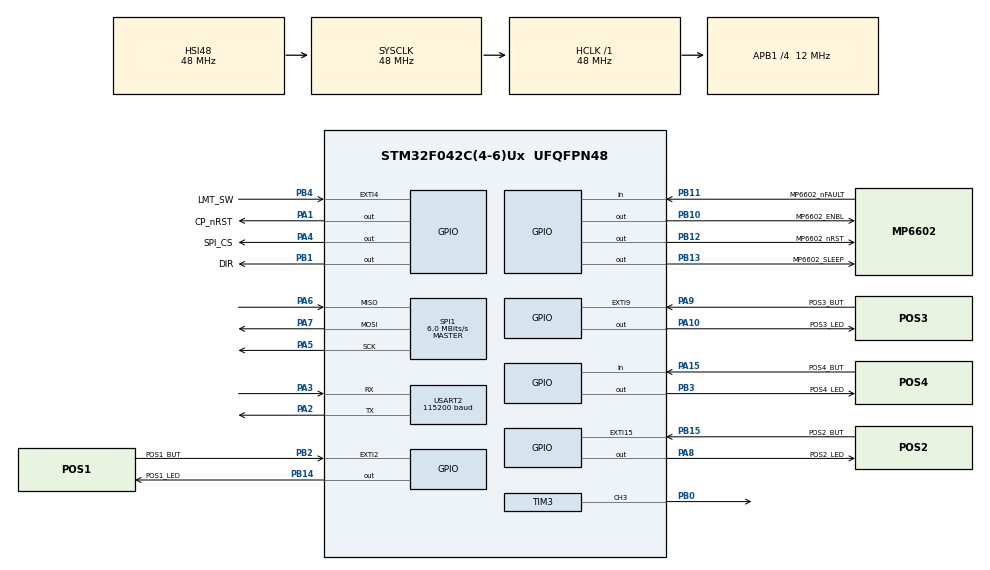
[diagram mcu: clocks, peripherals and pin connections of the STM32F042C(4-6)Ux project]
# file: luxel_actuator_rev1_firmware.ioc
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Mcu.Family=STM32F0
Mcu.Name=STM32F042C(4-6)Ux
Mcu.Package=UFQFPN48
NVIC.EXTI2_3_IRQn=true\:0\:0\:false\:false\:true\:true\:true\:true
NVIC.EXTI4_15_IRQn=true\:0\:0\:false\:false\:true\:true\:true\:true
NVIC.TIM3_IRQn=true\:1\:0\:true\:false\:true\:true\:true\:true
NVIC.USART2_IRQn=true\:0\:0\:false\:false\:true\:true\:true\:true
PA1.GPIO_Label=CP_nRST
PA1.Signal=GPIO_Output
PA10.GPIO_Label=POS3_LED
PA10.Signal=GPIO_Output
PA15.GPIO_Label=POS4_BUT
PA15.Signal=GPIO_Input
PA2.Mode=Asynchronous
PA2.Signal=USART2_TX
PA3.Mode=Asynchronous
PA3.Signal=USART2_RX
PA4.GPIO_Label=SPI_CS
PA4.Signal=GPIO_Output
PA5.Mode=Full_Duplex_Master
PA5.Signal=SPI1_SCK
PA6.Mode=Full_Duplex_Master
PA6.Signal=SPI1_MISO
PA7.Mode=Full_Duplex_Master
PA7.Signal=SPI1_MOSI
PA8.GPIO_Label=POS2_LED
PA8.Signal=GPIO_Output
PA9.GPIO_Label=POS3_BUT
PA9.GPIO_ModeDefaultEXTI=GPIO_MODE_IT_FALLING
PA9.Signal=GPXTI9
PB0.Signal=S_TIM3_CH3
PB1.GPIO_Label=DIR
PB1.Signal=GPIO_Output
PB10.GPIO_Label=MP6602_ENBL
PB10.Signal=GPIO_Output
PB11.GPIO_Label=MP6602_nFAULT
PB11.Signal=GPIO_Input
PB12.GPIO_Label=MP6602_nRST
PB12.Signal=GPIO_Output
PB13.GPIO_Label=MP6602_SLEEP
PB13.Signal=GPIO_Output
PB14.GPIO_Label=POS1_LED
PB14.Signal=GPIO_Output
PB15.GPIO_Label=POS2_BUT
PB15.GPIO_ModeDefaultEXTI=GPIO_MODE_IT_FALLING
PB15.Signal=GPXTI15
PB2.GPIO_Label=POS1_BUT
PB2.GPIO_ModeDefaultEXTI=GPIO_MODE_IT_FALLING
PB2.Signal=GPXTI2
PB3.GPIO_Label=POS4_LED
PB3.Signal=GPIO_Output
PB4.GPIO_Label=LMT_SW
PB4.GPIO_ModeDefaultEXTI=GPIO_MODE_IT_RISING_FALLING
PB4.Signal=GPXTI4
ProjectManager.HeapSize=0x400
ProjectManager.StackSize=0x800
ProjectManager.TargetToolchain=STM32CubeIDE
RCC.AHBFreq_Value=48000000
RCC.APB1CLKDivider=RCC_HCLK_DIV4
RCC.APB1Freq_Value=12000000
RCC.APB1TimFreq_Value=24000000
RCC.FLatency=FLASH_LATENCY_1
RCC.HCLKFreq_Value=48000000
RCC.SYSCLKFreq_VALUE=48000000
RCC.SYSCLKSource=RCC_SYSCLKSOURCE_HSI48
SH.S_TIM3_CH3.0=TIM3_CH3,PWM Generation3 CH3
SPI1.BaudRatePrescaler=SPI_BAUDRATEPRESCALER_2
SPI1.CLKPhase=SPI_PHASE_1EDGE
SPI1.CLKPolarity=SPI_POLARITY_LOW
SPI1.CRCCalculation=SPI_CRCCALCULATION_DISABLE
SPI1.CalculateBaudRate=6.0 MBits/s
SPI1.DataSize=SPI_DATASIZE_4BIT
SPI1.Direction=SPI_DIRECTION_2LINES
SPI1.FirstBit=SPI_FIRSTBIT_MSB
SPI1.Mode=SPI_MODE_MASTER
SPI1.NSS=SPI_NSS_SOFT
SPI1.NSSPMode=SPI_NSS_PULSE_ENABLE
SPI1.TIMode=SPI_TIMODE_DISABLE
SPI1.VirtualType=VM_MASTER
TIM3.AutoReloadPreload=TIM_AUTORELOAD_PRELOAD_ENABLE
TIM3.Channel-PWM\ Generation3\ CH3=TIM_CHANNEL_3
TIM3.ClockDivision=TIM_CLOCKDIVISION_DIV1
TIM3.CounterMode=TIM_COUNTERMODE_UP
TIM3.OC3Preload_PWM=ENABLE
TIM3.OCFastMode_PWM-PWM\ Generation3\ CH3=TIM_OCFAST_DISABLE
TIM3.OCMode_PWM-PWM\ Generation3\ CH3=TIM_OCMODE_PWM1
TIM3.OCPolarity_3=TIM_OCPOLARITY_HIGH
TIM3.Period=2400
TIM3.Prescaler=0
TIM3.Pulse-PWM\ Generation3\ CH3=0
TIM3.TIM_MasterOutputTrigger=TIM_TRGO_RESET
TIM3.TIM_MasterSlaveMode=TIM_MASTERSLAVEMODE_DISABLE
USART2.BaudRate=115200
USART2.DMADisableonRxErrorParam=ADVFEATURE_DMA_ENABLEONRXERROR
USART2.DataInvertParam=ADVFEATURE_DATAINV_DISABLE
USART2.MSBFirstParam=ADVFEATURE_MSBFIRST_DISABLE
USART2.Mode=MODE_TX_RX
USART2.OneBitSampling=UART_ONE_BIT_SAMPLE_DISABLE
USART2.OverSampling=UART_OVERSAMPLING_16
USART2.OverrunDisableParam=ADVFEATURE_OVERRUN_ENABLE
USART2.Parity=PARITY_NONE
USART2.RxPinLevelInvertParam=ADVFEATURE_RXINV_DISABLE
USART2.StopBits=STOPBITS_1
USART2.SwapParam=ADVFEATURE_SWAP_DISABLE
USART2.TxPinLevelInvertParam=ADVFEATURE_TXINV_DISABLE
USART2.VirtualMode-Asynchronous=VM_ASYNC
USART2.WordLength=WORDLENGTH_8B
VP_TIM3_VS_ClockSourceINT.Mode=Internal
board=custom

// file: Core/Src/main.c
/* USER CODE BEGIN Header */
/**
  ******************************************************************************
  * @file           : main.c
  * @brief          : Main program body
  ******************************************************************************
  * @attention
  *
  * Copyright (c) 2026 STMicroelectronics.
  * All rights reserved.
  *
  * This software is licensed under terms that can be found in the LICENSE file
  * in the root directory of this software component.
  * If no LICENSE file comes with this software, it is provided AS-IS.
  *
  ******************************************************************************
  */
/**
 * @file main.c
 * @brief Application entry point, shared actuator state and HAL callbacks.
 */
/**
 * @mainpage Luxel Filter Actuator Firmware
 *
 * Firmware for the STM32F0-based four-position filter actuator. A stepper
 * motor driven by an MP6602 moves the filter carriage between four positions
 * referenced to a limit switch.
 *
 * @section mp_modules Modules
 * - actuator.h: homing and position moves (STEP pulses from TIM3 CH3)
 * - mp6602.h: SPI configuration of the MP6602 stepper driver
 * - cmd.h: USART2 command protocol for the host computer
 * - led.h: one indicator LED per filter position
 * - circbuff.h: byte circular buffers used by the UART
 *
 * @section mp_buttons Front-panel buttons
 * Each of the four buttons selects its filter position. POS1 to POS3 are
 * interrupt driven (HAL_GPIO_EXTI_Callback()); POS4 is polled in the main
 * loop. Pressing a button before the actuator has been homed starts the
 * homing sequence instead.
 */
/* USER CODE END Header */
#include "main.h"

/* USER CODE BEGIN Includes */
#include <string.h>
#include "../Inc/mp6602.h"
#include "../Inc/circbuff.h"
#include <stdbool.h>
#include <stdio.h>

/* USER CODE END Includes */

SPI_HandleTypeDef hspi1;

TIM_HandleTypeDef htim3;

UART_HandleTypeDef huart2;

/* USER CODE BEGIN PV */
static const uint8_t test_str[] = "Hello World!!\r\n";	///< UART bring-up test string (currently unused).

/* USER CODE END PV */

void SystemClock_Config(void);
static void MX_GPIO_Init(void);
static void MX_SPI1_Init(void);
static void MX_TIM3_Init(void);
static void MX_USART2_UART_Init(void);
/* USER CODE BEGIN PFP */
void calc_pos_counts(void);
//void actuator_home(void);
void actuator_move_in(void);
void actuator_move_out(void);
//void actuator_move_pos(uint8_t pos);
/* USER CODE END PFP */

/* USER CODE BEGIN 0 */
uint32_t gl_pulse_cnt = 0;	///< STEP pulses generated so far in the current move; counted in HAL_TIM_PeriodElapsedCallback().
// With no microstepping, 10310 counts is 32 mm
//uint32_t gl_pulseperposition = 39951;
uint32_t gl_pulseperposition = 79902;	///< STEP pulses between adjacent filter positions.
uint8_t gl_filter_position;	///< Current filter position, 1 to 4 (set to the target when a move starts).
uint32_t gl_actuator_position;	///< Actuator position in pulses from the limit switch (set by homing).
uint32_t gl_actuator_offset = 5154;	///< STEP pulses from the limit switch to filter position 1.
uint32_t gl_positiondelta = 0;	///< Pulse count for the move in progress.
uint32_t gl_pos_counts[4];	///< Pulse count of each filter position from the limit switch; filled by calc_pos_counts().
bool gl_inmotion = false;	///< True while a move is in progress.
bool gl_homed = false;	///< True once actuator_home() has run.
bool gl_limit = false;	///< True while the limit switch is pressed.
bool gl_cmd_flag = false;	///< Set when a command terminator is received; cleared once the main loop handles the command.
uint8_t gl_cmd_hopper[16];	///< Command staging buffer (currently unused).
uint32_t gl_software_limit = 244860;	///< Furthest extent of travel

CB_t *UART_Rx = NULL;	///< USART2 receive buffer; filled by HAL_UART_RxCpltCallback().
CB_t *UART_Tx = NULL;	///< USART2 transmit buffer (purged by the C command; replies are sent directly).
CB_t *CMD_Buff = NULL;	///< Command buffer (allocated but currently unused).
#define USB_BUFF_SIZE	128	///< Size in bytes of each UART circular buffer.

uint8_t rxByte;	///< Landing byte for interrupt-driven USART2 reception.

/* USER CODE END 0 */

int main(void)
{

  /* MCU Configuration--------------------------------------------------------*/

  /* Reset of all peripherals, Initializes the Flash interface and the Systick. */
  HAL_Init();

  /* Configure the system clock */
  SystemClock_Config();

  /* Initialize all configured peripherals */
  MX_GPIO_Init();
  MX_SPI1_Init();
  MX_TIM3_Init();
  MX_USART2_UART_Init();
  /* USER CODE BEGIN 2 */
  // Toggle the Reset to clear any faults
  uint32_t ii;
  HAL_GPIO_WritePin(GPIOB, MP6602_nRST_Pin, RESET);
  for(ii = 0; ii<0xFF; ii++){}
  HAL_GPIO_WritePin(GPIOB, MP6602_nRST_Pin, SET);

  //Enable the USB/UART Bridge and the Motor Driver
  HAL_GPIO_WritePin(GPIOA, CP_nRST_Pin, SET);
  HAL_GPIO_WritePin(GPIOB, MP6602_ENBL_Pin, SET);
  //HAL_GPIO_WritePin(GPIOB, MP6602_ENBL_Pin, RESET);

  mp6602_init();

  CB_init(&UART_Rx, USB_BUFF_SIZE);
  CB_init(&UART_Tx, USB_BUFF_SIZE);
  CB_init(&CMD_Buff, USB_BUFF_SIZE);

  // SPI NOTES
    // The HAL seems to transmit and receive bytes on SPI
    // in reverse order. If trying to transmit 0xAA 0xBB,
    // it will grab 0xBB and put it on the bus first, then
    // 0xAA. Similar with the receiver buffer.
    // That's why none of the settings seemed to work.
    //
/*
    uint8_t txData[2] = {0x00, 0x00};
    uint8_t rxData[2] = {0x00, 0x00};
    HAL_GPIO_WritePin(GPIOA, SPI_CS_Pin, RESET);
    HAL_SPI_TransmitReceive(&hspi1, txData, rxData, 2, 100);
    HAL_GPIO_WritePin(GPIOA, SPI_CS_Pin, SET);

    txData[1] = 0x20;
    txData[0] = 0x00;
    rxData[0] = 0x00;
    rxData[1] = 0x00;
    HAL_GPIO_WritePin(GPIOA, SPI_CS_Pin, RESET);
    HAL_SPI_TransmitReceive(&hspi1, txData, rxData, 2, 100);
    HAL_GPIO_WritePin(GPIOA, SPI_CS_Pin, SET);

    txData[1] = 0x40;
    txData[0] = 0x00;
    rxData[0] = 0x00;
    rxData[1] = 0x00;
    HAL_GPIO_WritePin(GPIOA, SPI_CS_Pin, RESET);
    HAL_SPI_TransmitReceive(&hspi1, txData, rxData, 2, 100);
    HAL_GPIO_WritePin(GPIOA, SPI_CS_Pin, SET);

    txData[1] = 0x60;
    txData[0] = 0x00;
    rxData[0] = 0x00;
    rxData[1] = 0x00;
    HAL_GPIO_WritePin(GPIOA, SPI_CS_Pin, RESET);
    HAL_SPI_TransmitReceive(&hspi1, txData, rxData, 2, 100);
    HAL_GPIO_WritePin(GPIOA, SPI_CS_Pin, SET);
*/

  	// Set motor direction
  	HAL_GPIO_WritePin(GPIOB, DIR_Pin, RESET);

  	  // Set duty cycle for PWM, 50%
  	  // Half of ARR
  	  // OG NEMA 17 motor settings
  	  // Counter Period: 5000
  	  // CCR3: 2500
  	  TIM3->CCR3 = 1200;
  	  calc_pos_counts();

  	  GPIO_PinState limit_state;
  	  GPIO_PinState POS4_State;
  	  limit_state = HAL_GPIO_ReadPin(GPIOB, LMT_SW_Pin);

  	  //actuator_home();
  	  HAL_StatusTypeDef status;

  	  // Reset CP2102 chip
  	//HAL_GPIO_WritePin(GPIOA, CP_nRST_Pin, RESET);
  	//HAL_Delay(1000);
  	//HAL_GPIO_WritePin(GPIOA, CP_nRST_Pin, SET);
  	status = HAL_UART_Receive_IT(&huart2, &rxByte, 1);

  	//HAL_UART_Transmit_IT(&huart2, test_str, sizeof(test_str)-1);

  	  limit_state = HAL_GPIO_ReadPin(GPIOB, LMT_SW_Pin);
  	  if(limit_state == GPIO_PIN_RESET)
  	  {
  		  gl_limit = true;
  	  }
  	  else
  	  {
  		  gl_limit = false;
  	  }

  	  uint8_t peek_char = 0;

  /* USER CODE END 2 */

  /* Infinite loop */
  while (1)
  {

    /* USER CODE BEGIN 3 */
	  POS4_State = HAL_GPIO_ReadPin(GPIOA, POS4_BUT_Pin);
	  if(POS4_State == GPIO_PIN_RESET)
	  {
		  if(gl_homed){actuator_move_pos(4);}else{actuator_home();}
	  }

	  if(gl_cmd_flag)
	  {
		  peek_char = CB_peek(UART_Rx, 0);
		  switch(peek_char)
		  {
		  case(CMD_HOME)	:	cmd_home(); CB_purge(UART_Rx); gl_cmd_flag = false; break;
		  case(CMD_POS)		:	cmd_pos(); CB_purge(UART_Rx); gl_cmd_flag = false; break;
		  case(CMD_BUF_CLR)	:	cmd_buffer_clear(); gl_cmd_flag = false; break;
		  case(CMD_RESET)	:	cmd_reset(); gl_cmd_flag = false; break;
		  default			:	CB_purge(UART_Rx); gl_cmd_flag = false; break;
		  }
	  }
	  //HAL_GPIO_TogglePin(GPIOA, POS2_LED_Pin|POS3_LED_Pin);
	  //HAL_GPIO_TogglePin(GPIOB, POS1_LED_Pin|POS4_LED_Pin);
	  //HAL_UART_Transmit(&huart2, (uint8_t *)test_str, sizeof(test_str) - 1U, HAL_MAX_DELAY);
	  //HAL_UART_Transmit_IT(&huart2, test_str, sizeof(test_str)-1);
	  //HAL_Delay(1000);
  }
  /* USER CODE END 3 */
}

void SystemClock_Config(void)
{
  RCC_OscInitTypeDef RCC_OscInitStruct = {0};
  RCC_ClkInitTypeDef RCC_ClkInitStruct = {0};

  /** Initializes the RCC Oscillators according to the specified parameters
  * in the RCC_OscInitTypeDef structure.
  */
  RCC_OscInitStruct.OscillatorType = RCC_OSCILLATORTYPE_HSI48;
  RCC_OscInitStruct.HSI48State = RCC_HSI48_ON;
  RCC_OscInitStruct.PLL.PLLState = RCC_PLL_NONE;
  if (HAL_RCC_OscConfig(&RCC_OscInitStruct) != HAL_OK)
  {
    Error_Handler();
  }

  /** Initializes the CPU, AHB and APB buses clocks
  */
  RCC_ClkInitStruct.ClockType = RCC_CLOCKTYPE_HCLK|RCC_CLOCKTYPE_SYSCLK
                              |RCC_CLOCKTYPE_PCLK1;
  RCC_ClkInitStruct.SYSCLKSource = RCC_SYSCLKSOURCE_HSI48;
  RCC_ClkInitStruct.AHBCLKDivider = RCC_SYSCLK_DIV1;
  RCC_ClkInitStruct.APB1CLKDivider = RCC_HCLK_DIV4;

  if (HAL_RCC_ClockConfig(&RCC_ClkInitStruct, FLASH_LATENCY_1) != HAL_OK)
  {
    Error_Handler();
  }
}

static void MX_SPI1_Init(void)
{

  /* SPI1 parameter configuration*/
  hspi1.Instance = SPI1;
  hspi1.Init.Mode = SPI_MODE_MASTER;
  hspi1.Init.Direction = SPI_DIRECTION_2LINES;
  hspi1.Init.DataSize = SPI_DATASIZE_4BIT;
  hspi1.Init.CLKPolarity = SPI_POLARITY_LOW;
  hspi1.Init.CLKPhase = SPI_PHASE_1EDGE;
  hspi1.Init.NSS = SPI_NSS_SOFT;
  hspi1.Init.BaudRatePrescaler = SPI_BAUDRATEPRESCALER_2;
  hspi1.Init.FirstBit = SPI_FIRSTBIT_MSB;
  hspi1.Init.TIMode = SPI_TIMODE_DISABLE;
  hspi1.Init.CRCCalculation = SPI_CRCCALCULATION_DISABLE;
  hspi1.Init.CRCPolynomial = 7;
  hspi1.Init.CRCLength = SPI_CRC_LENGTH_DATASIZE;
  hspi1.Init.NSSPMode = SPI_NSS_PULSE_ENABLE;
  if (HAL_SPI_Init(&hspi1) != HAL_OK)
  {
    Error_Handler();
  }

}

static void MX_TIM3_Init(void)
{

  TIM_ClockConfigTypeDef sClockSourceConfig = {0};
  TIM_MasterConfigTypeDef sMasterConfig = {0};
  TIM_OC_InitTypeDef sConfigOC = {0};

  htim3.Instance = TIM3;
  htim3.Init.Prescaler = 0;
  htim3.Init.CounterMode = TIM_COUNTERMODE_UP;
  htim3.Init.Period = 2400;
  htim3.Init.ClockDivision = TIM_CLOCKDIVISION_DIV1;
  htim3.Init.AutoReloadPreload = TIM_AUTORELOAD_PRELOAD_ENABLE;
  if (HAL_TIM_Base_Init(&htim3) != HAL_OK)
  {
    Error_Handler();
  }
  sClockSourceConfig.ClockSource = TIM_CLOCKSOURCE_INTERNAL;
  if (HAL_TIM_ConfigClockSource(&htim3, &sClockSourceConfig) != HAL_OK)
  {
    Error_Handler();
  }
  if (HAL_TIM_PWM_Init(&htim3) != HAL_OK)
  {
    Error_Handler();
  }
  sMasterConfig.MasterOutputTrigger = TIM_TRGO_RESET;
  sMasterConfig.MasterSlaveMode = TIM_MASTERSLAVEMODE_DISABLE;
  if (HAL_TIMEx_MasterConfigSynchronization(&htim3, &sMasterConfig) != HAL_OK)
  {
    Error_Handler();
  }
  sConfigOC.OCMode = TIM_OCMODE_PWM1;
  sConfigOC.Pulse = 0;
  sConfigOC.OCPolarity = TIM_OCPOLARITY_HIGH;
  sConfigOC.OCFastMode = TIM_OCFAST_DISABLE;
  if (HAL_TIM_PWM_ConfigChannel(&htim3, &sConfigOC, TIM_CHANNEL_3) != HAL_OK)
  {
    Error_Handler();
  }
  /* USER CODE BEGIN TIM3_Init 2 */
  //HAL_NVIC_SetPriority(TIM3_IRQn,     3, 0);  /* Motor PWM: lower priority */

  /* USER CODE END TIM3_Init 2 */
  HAL_TIM_MspPostInit(&htim3);

}

static void MX_USART2_UART_Init(void)
{

  huart2.Instance = USART2;
  huart2.Init.BaudRate = 115200;
  huart2.Init.WordLength = UART_WORDLENGTH_8B;
  huart2.Init.StopBits = UART_STOPBITS_1;
  huart2.Init.Parity = UART_PARITY_NONE;
  huart2.Init.Mode = UART_MODE_TX_RX;
  huart2.Init.HwFlowCtl = UART_HWCONTROL_NONE;
  huart2.Init.OverSampling = UART_OVERSAMPLING_16;
  huart2.Init.OneBitSampling = UART_ONE_BIT_SAMPLE_DISABLE;
  huart2.AdvancedInit.AdvFeatureInit = UART_ADVFEATURE_NO_INIT;
  if (HAL_UART_Init(&huart2) != HAL_OK)
  {
    Error_Handler();
  }

}

static void MX_GPIO_Init(void)
{
  GPIO_InitTypeDef GPIO_InitStruct = {0};

  /* GPIO Ports Clock Enable */
  __HAL_RCC_GPIOA_CLK_ENABLE();
  __HAL_RCC_GPIOB_CLK_ENABLE();

  /*Configure GPIO pin Output Level */
  HAL_GPIO_WritePin(GPIOA, CP_nRST_Pin|SPI_CS_Pin|POS2_LED_Pin|POS3_LED_Pin, GPIO_PIN_RESET);

  /*Configure GPIO pin Output Level */
  HAL_GPIO_WritePin(GPIOB, DIR_Pin|MP6602_ENBL_Pin|MP6602_nRST_Pin|MP6602_SLEEP_Pin
                          |POS1_LED_Pin|POS4_LED_Pin, GPIO_PIN_RESET);

  /*Configure GPIO pins : CP_nRST_Pin SPI_CS_Pin POS2_LED_Pin POS3_LED_Pin */
  GPIO_InitStruct.Pin = CP_nRST_Pin|SPI_CS_Pin|POS2_LED_Pin|POS3_LED_Pin;
  GPIO_InitStruct.Mode = GPIO_MODE_OUTPUT_PP;
  GPIO_InitStruct.Pull = GPIO_NOPULL;
  GPIO_InitStruct.Speed = GPIO_SPEED_FREQ_LOW;
  HAL_GPIO_Init(GPIOA, &GPIO_InitStruct);

  /*Configure GPIO pins : DIR_Pin MP6602_ENBL_Pin MP6602_nRST_Pin MP6602_SLEEP_Pin
                           POS1_LED_Pin POS4_LED_Pin */
  GPIO_InitStruct.Pin = DIR_Pin|MP6602_ENBL_Pin|MP6602_nRST_Pin|MP6602_SLEEP_Pin
                          |POS1_LED_Pin|POS4_LED_Pin;
  GPIO_InitStruct.Mode = GPIO_MODE_OUTPUT_PP;
  GPIO_InitStruct.Pull = GPIO_NOPULL;
  GPIO_InitStruct.Speed = GPIO_SPEED_FREQ_LOW;
  HAL_GPIO_Init(GPIOB, &GPIO_InitStruct);

  /*Configure GPIO pins : POS1_BUT_Pin POS2_BUT_Pin */
  GPIO_InitStruct.Pin = POS1_BUT_Pin|POS2_BUT_Pin;
  GPIO_InitStruct.Mode = GPIO_MODE_IT_FALLING;
  GPIO_InitStruct.Pull = GPIO_NOPULL;
  HAL_GPIO_Init(GPIOB, &GPIO_InitStruct);

  /*Configure GPIO pin : MP6602_nFAULT_Pin */
  GPIO_InitStruct.Pin = MP6602_nFAULT_Pin;
  GPIO_InitStruct.Mode = GPIO_MODE_INPUT;
  GPIO_InitStruct.Pull = GPIO_NOPULL;
  HAL_GPIO_Init(MP6602_nFAULT_GPIO_Port, &GPIO_InitStruct);

  /*Configure GPIO pin : POS3_BUT_Pin */
  GPIO_InitStruct.Pin = POS3_BUT_Pin;
  GPIO_InitStruct.Mode = GPIO_MODE_IT_FALLING;
  GPIO_InitStruct.Pull = GPIO_NOPULL;
  HAL_GPIO_Init(POS3_BUT_GPIO_Port, &GPIO_InitStruct);

  /*Configure GPIO pin : POS4_BUT_Pin */
  GPIO_InitStruct.Pin = POS4_BUT_Pin;
  GPIO_InitStruct.Mode = GPIO_MODE_INPUT;
  GPIO_InitStruct.Pull = GPIO_NOPULL;
  HAL_GPIO_Init(POS4_BUT_GPIO_Port, &GPIO_InitStruct);

  /*Configure GPIO pin : LMT_SW_Pin */
  GPIO_InitStruct.Pin = LMT_SW_Pin;
  GPIO_InitStruct.Mode = GPIO_MODE_IT_RISING_FALLING;
  GPIO_InitStruct.Pull = GPIO_NOPULL;
  HAL_GPIO_Init(LMT_SW_GPIO_Port, &GPIO_InitStruct);

  /* EXTI interrupt init*/
  HAL_NVIC_SetPriority(EXTI2_3_IRQn, 0, 0);
  HAL_NVIC_EnableIRQ(EXTI2_3_IRQn);

  HAL_NVIC_SetPriority(EXTI4_15_IRQn, 0, 0);
  HAL_NVIC_EnableIRQ(EXTI4_15_IRQn);

}

/* USER CODE BEGIN 4 */
/**
 * @brief Compute the pulse count of each filter position.
 *
 * Fills ::gl_pos_counts starting from ::gl_actuator_offset (position 1) in
 * steps of ::gl_pulseperposition.
 */
void calc_pos_counts(void)
{
	gl_pos_counts[0] = gl_actuator_offset;
	gl_pos_counts[1] = gl_pos_counts[0] + gl_pulseperposition;
	gl_pos_counts[2] = gl_pos_counts[1] + gl_pulseperposition;
	gl_pos_counts[3] = gl_pos_counts[2] + gl_pulseperposition;

} //calc_pos_counts

/**
 * @brief Move one filter position away from the limit switch (toward position 4).
 * @note Legacy helper, not currently called. It does not set
 *       ::gl_positiondelta or ::gl_inmotion; use actuator_move_pos().
 */
void actuator_move_in(void)
{
	if(gl_filter_position < 4)
	{
		gl_pulse_cnt = 0;

		HAL_GPIO_WritePin(GPIOB, DIR_Pin, RESET);
		HAL_TIM_PWM_Start_IT(&htim3, TIM_CHANNEL_3);
		HAL_TIM_Base_Start_IT(&htim3);

		gl_filter_position++;

		set_led_pos(gl_filter_position);

	}
} // actuator_move_in

/**
 * @brief Move one filter position toward the limit switch (toward position 1).
 *
 * Does nothing if the limit switch is already pressed.
 * @note Legacy helper, not currently called. It does not set
 *       ::gl_positiondelta or ::gl_inmotion; use actuator_move_pos().
 */
void actuator_move_out(void)
{
	if(gl_filter_position > 1)
	{
		gl_pulse_cnt = 0;

		if(HAL_GPIO_ReadPin(GPIOB, LMT_SW_Pin) == GPIO_PIN_SET)
		{
			HAL_GPIO_WritePin(GPIOB, DIR_Pin, SET);
			HAL_TIM_PWM_Start_IT(&htim3, TIM_CHANNEL_3);
			HAL_TIM_Base_Start_IT(&htim3);
		}

		gl_filter_position--;

		set_led_pos(gl_filter_position);
	}
} // actuator_move_out

/*
void actuator_move_out(void)
{

	gl_pulse_cnt = 0;

	if(HAL_GPIO_ReadPin(GPIOB, LMT_SW_Pin) == GPIO_PIN_SET)
	{
		HAL_GPIO_WritePin(GPIOB, DIR_Pin, SET);
		HAL_TIM_PWM_Start_IT(&htim3, TIM_CHANNEL_3);
		HAL_TIM_Base_Start_IT(&htim3);

		gl_filter_position--;
		HAL_Delay(10000);
		HAL_TIM_PWM_Stop_IT(&htim3, TIM_CHANNEL_3);
		HAL_TIM_Base_Stop_IT(&htim3);

	}

} // actuator_move_out
*/
/**
 * @brief EXTI callback for the position buttons and the limit switch.
 *
 * - POS1 to POS3 buttons: move to that position, or start homing if the
 *   actuator has not been homed.
 * - Limit switch: when pressed (low), set ::gl_limit and stop the step
 *   timer; when released, clear ::gl_limit.
 *
 * @param GPIO_Pin Pin that triggered the interrupt.
 * @note Overrides the weak HAL implementation. Because actuator_home()
 *       busy-waits, a press before homing runs homing in interrupt context.
 */
void HAL_GPIO_EXTI_Callback(uint16_t GPIO_Pin)
{
	switch(GPIO_Pin){
	case(POS1_BUT_Pin)	:	if(gl_homed){actuator_move_pos(1);}else{actuator_home();} break;
	case(POS2_BUT_Pin)	: 	if(gl_homed){actuator_move_pos(2);}else{actuator_home();} break;
	case(POS3_BUT_Pin)	:	if(gl_homed){actuator_move_pos(3);}else{actuator_home();} break;
	case(LMT_SW_Pin)	:	if(HAL_GPIO_ReadPin(GPIOB, LMT_SW_Pin) == GPIO_PIN_RESET){gl_limit = true; HAL_TIM_PWM_Stop(&htim3, TIM_CHANNEL_3);HAL_TIM_Base_Stop(&htim3);}else{gl_limit = false;} break;
	default				: 	break;
	}
}

/**
 * @brief TIM3 update callback: counts STEP pulses and ends a move.
 *
 * Called once per PWM period (one STEP pulse). When ::gl_pulse_cnt reaches
 * ::gl_positiondelta, PWM and the timer interrupt are stopped and
 * ::gl_inmotion is cleared.
 * @param htim Timer that generated the update event.
 */
void HAL_TIM_PeriodElapsedCallback(TIM_HandleTypeDef *htim)
{
	if(htim->Instance == TIM3)
	{
		if(gl_pulse_cnt == gl_positiondelta)
		{
			gl_pulse_cnt = 0;
			HAL_TIM_PWM_Stop_IT(&htim3, TIM_CHANNEL_3);
			HAL_TIM_Base_Stop_IT(&htim3);
			gl_inmotion = false;
		}
		else
		{
			gl_pulse_cnt++;
		}
	}
}

/**
 * @brief USART2 receive-complete callback.
 *
 * Echoes the received byte, re-arms single-byte reception, stores the byte
 * in ::UART_Rx and sets ::gl_cmd_flag when ::CMD_TERM arrives.
 * @param huart UART that completed reception.
 */
void HAL_UART_RxCpltCallback(UART_HandleTypeDef *huart)
{
    if (huart->Instance == USART2)
    {
        /* rxByte now contains one received byte. */

        /* Example: echo that byte back asynchronously. */
        HAL_UART_Transmit_IT(&huart2, &rxByte, 1);

        /* Rearm receive, otherwise it stops after this one byte. */
        HAL_UART_Receive_IT(&huart2, &rxByte, 1);
        CB_buffer_add_item(UART_Rx, rxByte);
        if(rxByte == CMD_TERM)
        {
        	gl_cmd_flag = true;
        }
    }
}

/* USER CODE END 4 */

void Error_Handler(void)
{
  __disable_irq();
  while (1)
  {
  }
}
